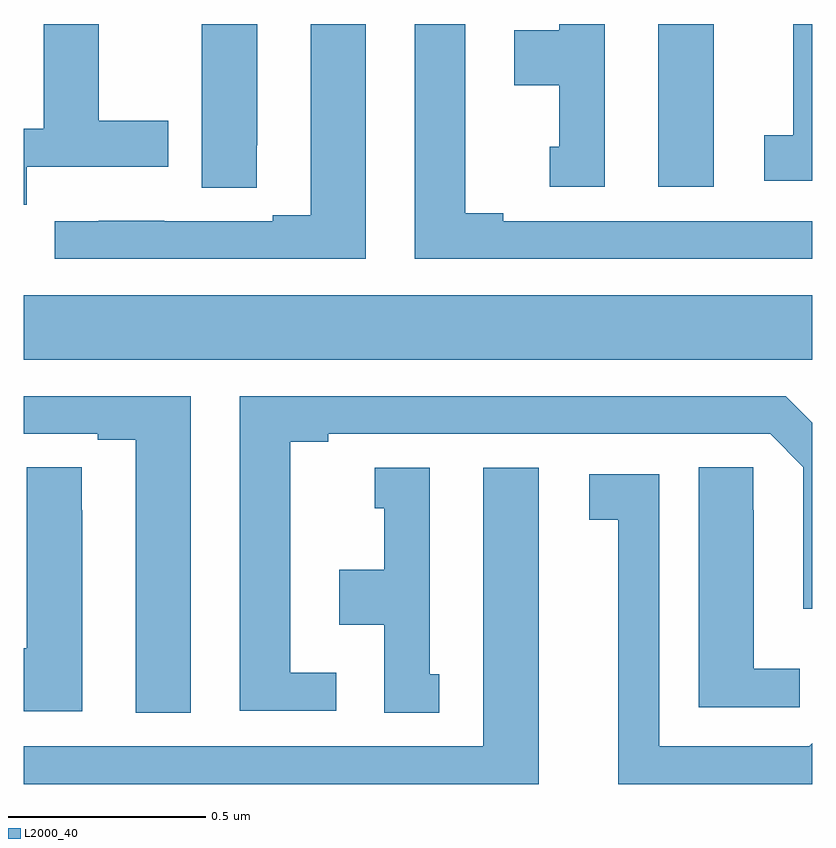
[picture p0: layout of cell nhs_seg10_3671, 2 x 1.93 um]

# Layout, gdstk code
import gdstk
lib = gdstk.Library(unit=1e-6, precision=1e-09)
def R(c, l, rs):  # rectangles x0, y0, x1, y1
    for r in rs: c.add(gdstk.rectangle(r[:2], r[2:], *l))
def P(c, l, *ps):  # polygons
    for p in ps: c.add(gdstk.Polygon(p, *l))
L2000_40 = (2000, 40)

nhs_seg10_3671 = lib.new_cell('nhs_seg10_3671')
R(nhs_seg10_3671, L2000_40, [(156,1301.648,158,1301.812), (157.61,1302.087,157.75,1302.5)])
P(nhs_seg10_3671, L2000_40, [(156.591,1302.193),(156.592,1302.193),(156.592,1302.5),(156.452,1302.5),(156.452,1302.085),(156.591,1302.085)],
  [(156.008,1302.138),(156.367,1302.138),(156.367,1302.255),(156.19,1302.255),(156.19,1302.5),(156.05,1302.5),(156.05,1302.234),(156,1302.234),(156,1302.042),(156.008,1302.042)],
  [(158,1302),(157.216,1302),(157.216,1302.02),(157.12,1302.02),(157.12,1302.5),(156.992,1302.5),(156.992,1301.904),(158,1301.904)],
  [(158,1302.5),(157.952,1302.5),(157.952,1302.218),(157.878,1302.218),(157.878,1302.102),(158,1302.102)],
  [(156.868,1302.5),(156.728,1302.5),(156.728,1302.015),(156.632,1302.015),(156.632,1302),(156.356,1302),(156.356,1302.001),(156.19,1302.001),(156.19,1302),(156.078,1302),(156.078,1301.904),(156.868,1301.904)],
  [(157.474,1302.5),(157.358,1302.5),(157.358,1302.484),(157.244,1302.484),(157.244,1302.344),(157.358,1302.344),(157.358,1302.189),(157.334,1302.189),(157.334,1302.087),(157.474,1302.087)],
  [(156.793,1300.854),(156.676,1300.854),(156.676,1301.44),(156.772,1301.44),(156.772,1301.46),(157.893,1301.46),(157.977,1301.376),(157.977,1301.016),(158,1301.016),(158,1301.489),(157.933,1301.556),(156.548,1301.556),(156.548,1300.758),(156.793,1300.758)],
  [(156.424,1301.556),(156,1301.556),(156,1301.46),(156.188,1301.46),(156.188,1301.445),(156.284,1301.445),(156.284,1300.753),(156.424,1300.753)],
  [(157.969,1300.864),(157.852,1300.864),(157.852,1301.267),(157.851,1301.267),(157.851,1301.375),(157.712,1301.375),(157.712,1300.767),(157.969,1300.767)],
  [(156.148,1301.267),(156.147,1301.267),(156.147,1301.375),(156.008,1301.375),(156.008,1300.917),(156,1300.917),(156,1300.757),(156.148,1300.757)],
  [(157.306,1301.374),(157.166,1301.374),(157.166,1300.668),(156,1300.668),(156,1300.572),(157.306,1300.572)],
  [(157.054,1300.851),(157.03,1300.851),(157.03,1301.374),(156.89,1301.374),(156.89,1301.271),(156.914,1301.271),(156.914,1301.116),(156.8,1301.116),(156.8,1300.976),(156.914,1300.976),(156.914,1300.753),(157.054,1300.753)],
  [(158,1300.676),(157.992,1300.668),(157.612,1300.668),(157.612,1301.358),(157.434,1301.358),(157.434,1301.242),(157.508,1301.242),(157.508,1300.572),(158,1300.572)])

lib.write_gds('nhs_seg10_3671.gds')
